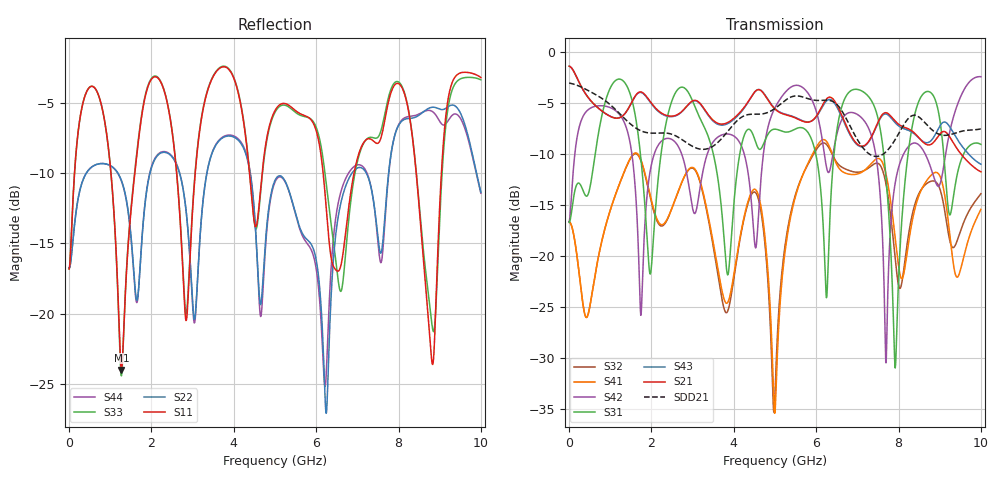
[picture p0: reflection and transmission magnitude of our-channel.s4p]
! Created with skrf 2.0.1 (http://scikit-rf.org).
# Hz S RI R 50.0
!freq ReS11 ImS11 ReS12 ImS12 ReS13 ImS13
! ReS14 ImS14
! ReS21 ImS21 ReS22 ImS22 ReS23 ImS23
! ReS24 ImS24
! ReS31 ImS31 ReS32 ImS32 ReS33 ImS33
! ReS34 ImS34
! ReS41 ImS41 ReS42 ImS42 ReS43 ImS43
! ReS44 ImS44
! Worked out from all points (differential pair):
!   1001 points, 1 MHz to 10 GHz, reference 50 ohm
!   strongest paths, dB at 1 MHz, 2.501 GHz, 5 GHz, 7.5 GHz, 10 GHz:
!     S21: -1.4, -6.3, -5.6, -6.9, -11.7
!     S43: -1.4, -6.3, -5.6, -7.0, -11.0
!     S31: -16.7, -4.8, -7.6, -6.5, -9.1
!     S42: -16.6, -8.6, -5.5, -11.6, -2.4
!     S41: -16.7, -15.3, -35.3, -10.4, -15.4
!     S32: -16.7, -15.3, -33.6, -10.9, -13.9
!   taken as a pair (ports 1,3 in; 2,4 out), SDD21 dB: -3.0, -8.1, -5.5, -10.2, -7.5
!   lowest |S11| = -24.0 dB at 1.271 GHz (marker M1), VSWR 1.13, Z = 56.7 - j0.421 ohm
!   |S11| at or under -10 dB: 1.017 GHz to 1.597 GHz (579.4 MHz wide, 44.3 % of centre); 6.169 GHz to 6.92 GHz (751 MHz wide, 11.5 % of centre); 8.429 GHz to 9.041 GHz (612 MHz wide, 7.01 % of centre)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
1000000  -0.1442 0.00317  0.8509 -0.0033  0.1463 0.000678  0.147 -0.00118
         0.8509 -0.0033  -0.1454 0.00213  0.147 -0.00118  0.1476 0.00173
         0.1463 0.000678  0.147 -0.00118  -0.1442 0.00318  0.8509 -0.0033
         0.147 -0.00118  0.1476 0.00173  0.8509 -0.0033  -0.1454 0.00213
1.270873e9  0.0629 -0.00369  -0.4207 -0.2325  0.6728 -0.2858  0.0674 -0.2294
            -0.4207 -0.2325  0.2077 -0.2131  0.0671 -0.2287  0.2945 -0.3783
            0.6728 -0.2858  0.0671 -0.2287  0.06 -0.00156  -0.4215 -0.2318
            0.0674 -0.2294  0.2945 -0.3783  -0.4215 -0.2318  0.2076 -0.2114
4.990501e9  0.3631 0.3777  -0.1349 0.5094  0.3777 -0.1794  -0.0168 0.00216
            -0.1349 0.5094  0.2711 -0.1174  -0.0171 -0.00762  0.4821 0.2149
            0.3777 -0.1794  -0.0171 -0.00762  0.3498 0.3804  -0.1389 0.5113
            -0.0168 0.00216  0.4821 0.2149  -0.1389 0.5113  0.2692 -0.1118
6.440356e9  0.1447 -0.0134  0.1168 -0.5653  0.2416 0.2186  0.2953 -0.044
            0.1168 -0.5653  0.1019 0.1358  0.3005 -0.000112  0.3278 -0.1045
            0.2416 0.2186  0.3005 -0.000112  0.1598 -0.0596  0.115 -0.5506
            0.2953 -0.044  0.3278 -0.1045  0.115 -0.5506  0.1213 0.158
7.70023e9  0.4505 0.2553  -0.3515 0.3602  -0.1212 -0.2049  -0.2407 0.066
           -0.3515 0.3602  0.2475 0.0595  -0.2184 0.0435  0.0242 -0.0178
           -0.1212 -0.2049  -0.2184 0.0435  0.4678 0.2732  -0.3499 0.3516
           -0.2407 0.066  0.0242 -0.0178  -0.3499 0.3516  0.2364 0.0674
8.820118e9  0.057 0.0336  0.3482 -0.0723  0.2178 -0.5808  0.0896 0.2355
            0.3482 -0.0723  0.3601 -0.405  0.0406 0.2296  0.2096 -0.149
            0.2178 -0.5808  0.0406 0.2296  0.0833 0.0329  0.3707 -0.0447
            0.0896 0.2355  0.2096 -0.149  0.3707 -0.0447  0.3251 -0.4105
1e10  0.688 -0.0647  -0.2574 -0.0244  0.1064 -0.3359  0.1178 -0.1215
      -0.2574 -0.0244  -0.032 -0.2683  0.1585 -0.1252  0.5548 -0.5133
      0.1064 -0.3359  0.1585 -0.1252  0.6781 0.0103  -0.281 -0.0196
      0.1178 -0.1215  0.5548 -0.5133  -0.281 -0.0196  -0.0193 -0.2673
